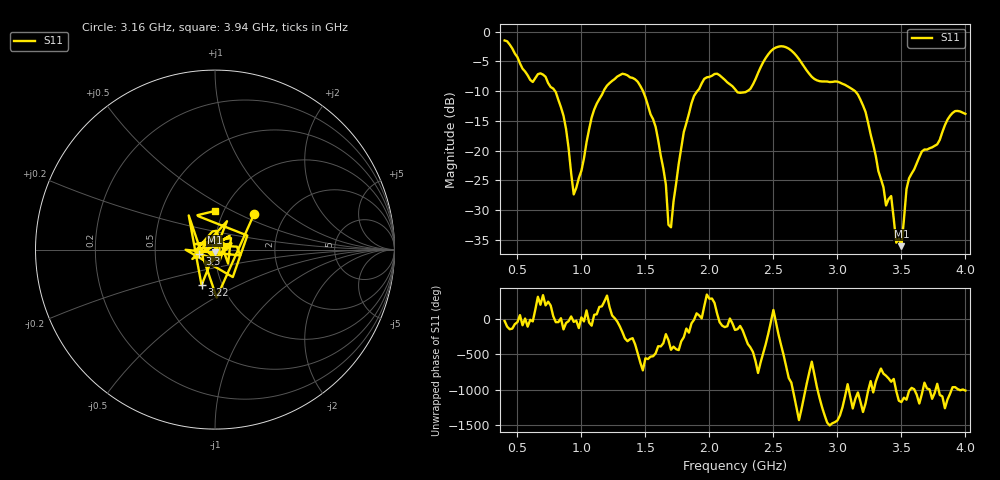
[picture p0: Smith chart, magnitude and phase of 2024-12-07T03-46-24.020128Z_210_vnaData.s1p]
!Created with skrf (http://scikit-rf.org).
# Hz S RI R 50.0
!freq ReS11 ImS11
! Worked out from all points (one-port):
!   181 points, 400 MHz to 4 GHz, reference 50 ohm
!   lowest |S11| = -36.0 dB at 3.5 GHz (marker M1), VSWR 1.03, Z = 49.9 - j1.57 ohm
!   |S11| at or under -10 dB: 794.8 MHz to 1.174 GHz (378.7 MHz wide, 38.5 % of centre); 1.482 GHz to 1.905 GHz (423.6 MHz wide, 25 % of centre); 3.139 GHz to end of sweep (the widest 3 of 4)
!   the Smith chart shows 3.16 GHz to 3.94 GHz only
!   S11 on the Smith chart (normalised r, x): 3.16 GHz: 1.40, +0.62; 3.22 GHz: 0.80, -0.33; 3.3 GHz: 0.84, -0.04; 3.94 GHz: 0.92, +0.41
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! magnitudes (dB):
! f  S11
! 400 MHz  -1.5
! 600 MHz  -8.1
! 720 MHz  -7.6
! 860 MHz  -14.1
! 940 MHz  -27.3
! 1.1 GHz  -13.1
! 1.3 GHz  -7.3
! 1.44 GHz  -8.4
! 1.58 GHz  -16.0
! 1.66 GHz  -25.7
! 1.68 GHz  -32.5
! 1.7 GHz  -32.9
! 1.76 GHz  -22.2
! 1.86 GHz  -12.0
! 1.96 GHz  -7.9
! 2.2 GHz  -9.7
! 2.32 GHz  -9.6
! 2.5 GHz  -2.9
! 2.66 GHz  -3.6
! 3.1 GHz  -9.4
! 3.16 GHz  -10.6
! 3.22 GHz  -13.5
! 3.3 GHz  -20.9
! 3.46 GHz  -35.5
! 3.5 GHz  -36.0
! 3.56 GHz  -24.6
! 3.94 GHz  -13.3
! 4 GHz  -13.8
